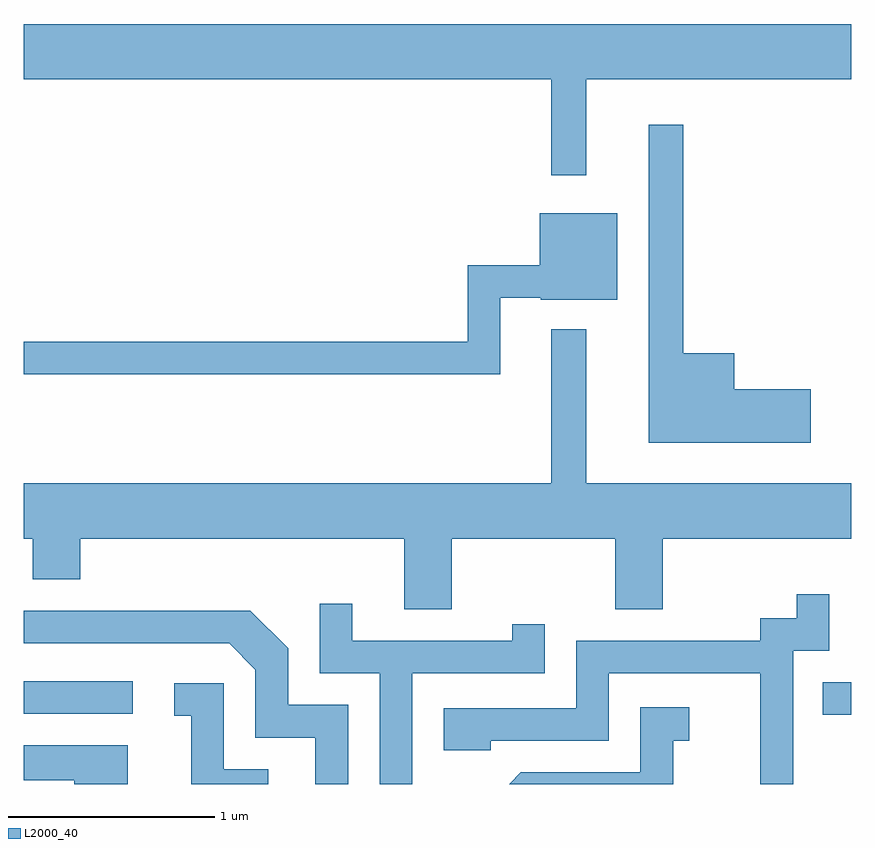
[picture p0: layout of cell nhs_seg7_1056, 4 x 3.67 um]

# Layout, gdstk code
import gdstk
lib = gdstk.Library(unit=1e-6, precision=1e-09)
def R(c, l, rs):  # rectangles x0, y0, x1, y1
    for r in rs: c.add(gdstk.rectangle(r[:2], r[2:], *l))
def P(c, l, *ps):  # polygons
    for p in ps: c.add(gdstk.Polygon(p, *l))
L2000_40 = (2000, 40)

nhs_seg7_1056 = lib.new_cell('nhs_seg7_1056')
R(nhs_seg7_1056, L2000_40, [(221.473,1704.586,221.611,1704.744), (217.611,1704.591,218.138,1704.749)])
P(nhs_seg7_1056, L2000_40, [(220.329,1707.656),(221.611,1707.656),(221.611,1707.924),(217.611,1707.924),(217.611,1707.656),(220.161,1707.656),(220.161,1707.193),(220.329,1707.193)],
  [(221.414,1706.159),(221.044,1706.159),(221.044,1706.334),(220.799,1706.334),(220.799,1707.438),(220.631,1707.438),(220.631,1705.901),(221.414,1705.901)],
  [(219.914,1706.601),(220.11,1706.601),(220.11,1706.591),(220.479,1706.591),(220.479,1707.009),(220.106,1707.009),(220.106,1706.759),(219.756,1706.759),(219.756,1706.389),(217.611,1706.389),(217.611,1706.231),(219.914,1706.231)],
  [(219.679,1705.436),(220.471,1705.436),(220.471,1705.096),(220.699,1705.096),(220.699,1705.436),(221.611,1705.436),(221.611,1705.704),(220.329,1705.704),(220.329,1706.448),(220.161,1706.448),(220.161,1705.704),(217.611,1705.704),(217.611,1705.436),(217.656,1705.436),(217.656,1705.241),(217.884,1705.241),(217.884,1705.436),(219.451,1705.436),(219.451,1705.096),(219.679,1705.096)],
  [(221.329,1704.896),(221.504,1704.896),(221.504,1705.168),(221.346,1705.168),(221.346,1705.054),(221.171,1705.054),(221.171,1704.944),(220.281,1704.944),(220.281,1704.619),(219.641,1704.619),(219.641,1704.416),(219.869,1704.416),(219.869,1704.461),(220.439,1704.461),(220.439,1704.786),(221.171,1704.786),(221.171,1704.252),(221.329,1704.252)],
  [(219.489,1704.786),(220.129,1704.786),(220.129,1705.023),(219.971,1705.023),(219.971,1704.944),(219.199,1704.944),(219.199,1705.123),(219.041,1705.123),(219.041,1704.786),(219.331,1704.786),(219.331,1704.252),(219.489,1704.252)],
  [(219.179,1704.634),(218.889,1704.634),(218.889,1704.907),(218.707,1705.089),(217.611,1705.089),(217.611,1704.931),(218.604,1704.931),(218.731,1704.804),(218.731,1704.476),(219.021,1704.476),(219.021,1704.252),(219.179,1704.252)],
  [(218.794,1704.324),(218.579,1704.324),(218.579,1704.739),(218.338,1704.739),(218.338,1704.581),(218.421,1704.581),(218.421,1704.252),(218.794,1704.252)],
  [(220.749,1704.461),(220.828,1704.461),(220.828,1704.624),(220.591,1704.624),(220.591,1704.309),(220.014,1704.309),(219.957,1704.252),(220.749,1704.252)],
  [(218.114,1704.439),(217.611,1704.439),(217.611,1704.271),(217.856,1704.271),(217.856,1704.252),(218.114,1704.252)])

lib.write_gds('nhs_seg7_1056.gds')
